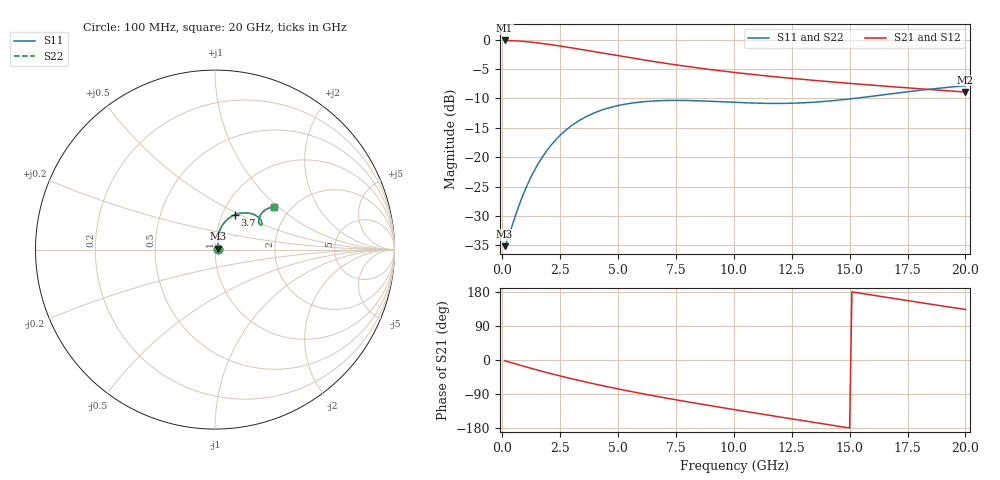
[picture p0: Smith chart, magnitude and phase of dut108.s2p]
! Created with skrf 1.9.0 (http://scikit-rf.org).
# GHz S RI R 50.0
!freq ReS11 ImS11 ReS21 ImS21 ReS12 ImS12 ReS22 ImS22
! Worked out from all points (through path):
!   200 points, 100 MHz to 20 GHz, reference 50 ohm
!   highest |S21| = -0.15 dB at 100 MHz (marker M1); lowest = -8.9 dB at 20 GHz (marker M2)
!   group delay of S21, straight-line fit = 29.9 ps
!   lowest |S11| = -35.2 dB at 100 MHz (marker M3), VSWR 1.04, Z = 51.7 + j0.492 ohm
!   |S11| at or under -10 dB: start of sweep to 15.23 GHz
!   |S22| runs from -35.2 to -7.9 dB; largest |S21 - S12| = 2.1e-15
!   S11 on the Smith chart (normalised r, x): 100 MHz: 1.03, +0.01; 3.7 GHz: 1.15, +0.47; 20 GHz: 1.64, +0.94
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0.1  0.0168 0.00476  0.9824 -0.0311  0.9824 -0.0311  0.0168 0.00476
0.2  0.0168 0.00948  0.9802 -0.0621  0.9802 -0.0621  0.0168 0.00948
0.6  0.0161 0.029  0.9576 -0.1827  0.9576 -0.1827  0.0161 0.029
0.9  0.0157 0.0452  0.9277 -0.2674  0.9277 -0.2674  0.0157 0.0452
1.2  0.0163 0.0631  0.8884 -0.3455  0.8884 -0.3455  0.0163 0.0631
1.6  0.0205 0.0888  0.8247 -0.4376  0.8247 -0.4376  0.0205 0.0888
2  0.0296 0.1151  0.7518 -0.5151  0.7518 -0.5151  0.0296 0.1151
2.5  0.048 0.1458  0.6531 -0.5917  0.6531 -0.5917  0.048 0.1458
3  0.0726 0.171  0.5511 -0.6473  0.5511 -0.6473  0.0726 0.171
3.5  0.1008 0.1893  0.4496 -0.6842  0.4496 -0.6842  0.1008 0.1893
3.7  0.1125 0.1946  0.4098 -0.6943  0.4098 -0.6943  0.1125 0.1946
4.4  0.1525 0.2046  0.2767 -0.7119  0.2767 -0.7119  0.1525 0.2046
5.1  0.1879 0.2037  0.1555 -0.7067  0.1555 -0.7067  0.1879 0.2037
6.8  0.2439 0.1782  -0.0824 -0.6334  -0.0824 -0.6334  0.2439 0.1782
8.4  0.261 0.1512  -0.2391 -0.5235  -0.2391 -0.5235  0.261 0.1512
10.1  0.2576 0.1375  -0.3487 -0.39  -0.3487 -0.39  0.2576 0.1375
11.7  0.2485 0.1421  -0.4087 -0.2599  -0.4087 -0.2599  0.2485 0.1421
13.4  0.2441 0.1615  -0.4335 -0.124  -0.4335 -0.124  0.2441 0.1615
15  0.2505 0.1868  -0.424 -0.00415  -0.424 -0.00415  0.2505 0.1868
16.7  0.2698 0.2127  -0.3842 0.1078  -0.3842 0.1078  0.2698 0.2127
18.4  0.2982 0.2308  -0.3203 0.1983  -0.3203 0.1983  0.2982 0.2308
20  0.3277 0.2379  -0.2455 0.2606  -0.2455 0.2606  0.3277 0.2379
